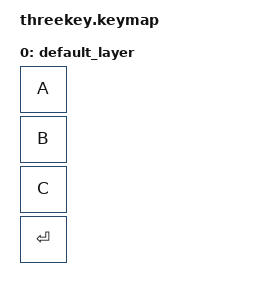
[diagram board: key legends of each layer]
#include <behaviors.dtsi>
#include <dt-bindings/zmk/keys.h>


/ {
    keymap {

        compatible = "zmk,keymap";


        default_layer {

            bindings = <
                &kp A
                &kp B
                &kp C
                &kp ENTER
            >;

        };

    };


    combos {

        compatible = "zmk,combos";


        combo_bootloader {

            timeout-ms = <50>;

            key-positions = <0 1 2>;

            bindings = <&bootloader>;

        };

    };
};
